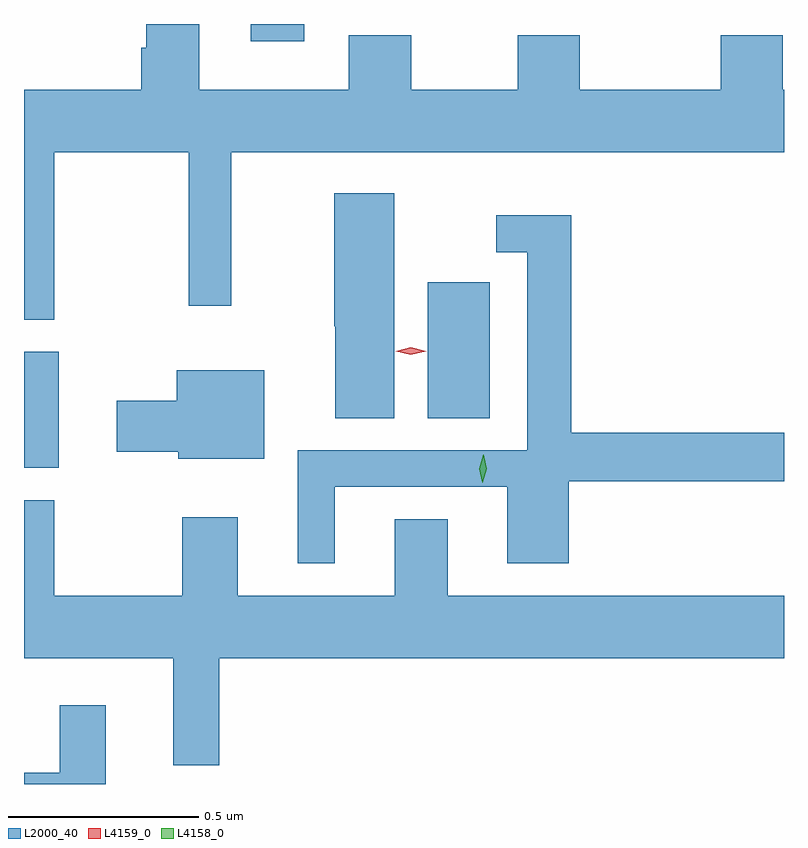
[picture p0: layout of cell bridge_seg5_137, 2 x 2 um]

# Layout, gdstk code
import gdstk
lib = gdstk.Library(unit=1e-6, precision=1e-09)
def R(c, l, rs):  # rectangles x0, y0, x1, y1
    for r in rs: c.add(gdstk.rectangle(r[:2], r[2:], *l))
def P(c, l, *ps):  # polygons
    for p in ps: c.add(gdstk.Polygon(p, *l))
L2000_40 = (2000, 40)
L4158_0 = (4158, 0)
L4159_0 = (4159, 0)

bridge_seg5_137 = lib.new_cell('bridge_seg5_137')
R(bridge_seg5_137, L2000_40, [(256.64,886.565,256.732,886.87), (257.702,886.696,257.866,887.053), (257.237,887.688,257.377,887.733)])
P(bridge_seg5_137, L2000_40, [(256.719,887.396),(257.073,887.396),(257.073,886.992),(257.186,886.992),(257.186,887.396),(258.64,887.396),(258.64,887.56),(258.637,887.56),(258.637,887.704),(258.473,887.704),(258.473,887.56),(258.103,887.56),(258.103,887.704),(257.939,887.704),(257.939,887.56),(257.659,887.56),(257.659,887.704),(257.495,887.704),(257.495,887.56),(257.101,887.56),(257.101,887.733),(256.962,887.733),(256.962,887.67),(256.949,887.67),(256.949,887.56),(256.64,887.56),(256.64,886.955),(256.719,886.955)],
  [(257.614,887.287),(257.456,887.287),(257.456,886.938),(257.459,886.938),(257.459,886.696),(257.614,886.696)],
  [(257.458,886.515),(257.912,886.515),(257.912,886.314),(258.074,886.314),(258.074,886.53),(258.64,886.53),(258.64,886.658),(258.08,886.658),(258.08,887.23),(257.883,887.23),(257.883,887.133),(257.964,887.133),(257.964,886.611),(257.36,886.611),(257.36,886.314),(257.458,886.314)],
  [(257.272,886.822),(257.042,886.822),(257.042,886.742),(256.884,886.742),(256.884,886.607),(257.046,886.607),(257.046,886.589),(257.272,886.589)],
  [(257.615,886.43),(257.615,886.228),(257.203,886.228),(257.203,886.435),(257.056,886.435),(257.056,886.228),(256.719,886.228),(256.719,886.48),(256.64,886.48),(256.64,886.064),(257.033,886.064),(257.033,885.783),(257.154,885.783),(257.154,886.064),(258.64,886.064),(258.64,886.228),(257.755,886.228),(257.755,886.43)],
  [(256.855,885.94),(256.734,885.94),(256.734,885.763),(256.64,885.763),(256.64,885.733),(256.855,885.733)])
P(bridge_seg5_137, L4158_0, [(257.847,886.526),(257.846,886.527),(257.838,886.563),(257.849,886.599),(257.85,886.599),(257.85,886.599),(257.858,886.562),(257.847,886.527)])
P(bridge_seg5_137, L4159_0, [(257.658,886.862),(257.618,886.872),(257.618,886.872),(257.618,886.872),(257.658,886.882),(257.698,886.872),(257.698,886.872),(257.698,886.872)])

lib.write_gds('bridge_seg5_137.gds')
